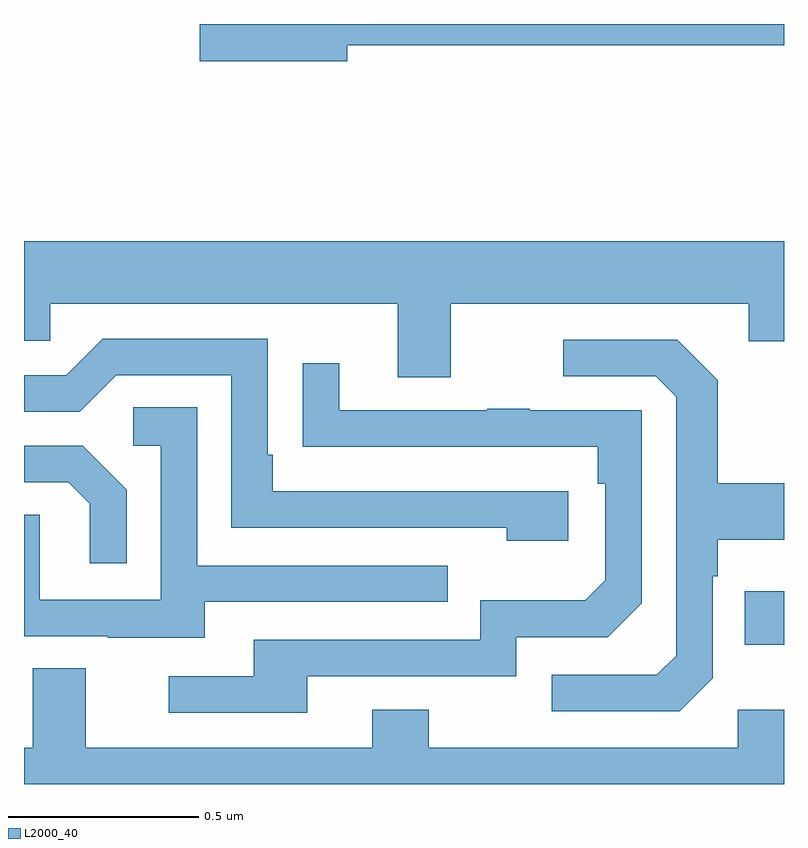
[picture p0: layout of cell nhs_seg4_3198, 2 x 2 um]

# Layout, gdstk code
import gdstk
lib = gdstk.Library(unit=1e-6, precision=1e-09)
def R(c, l, rs):  # rectangles x0, y0, x1, y1
    for r in rs: c.add(gdstk.rectangle(r[:2], r[2:], *l))
def P(c, l, *ps):  # polygons
    for p in ps: c.add(gdstk.Polygon(p, *l))
L2000_40 = (2000, 40)

nhs_seg4_3198 = lib.new_cell('nhs_seg4_3198')
R(nhs_seg4_3198, L2000_40, [(151.897,785.267,152,785.407)])
P(nhs_seg4_3198, L2000_40, [(150.85,786.844),(152,786.844),(152,786.9),(150.462,786.9),(150.462,786.802),(150.85,786.802)],
  [(151.123,786.164),(151.907,786.164),(151.907,786.065),(152,786.065),(152,786.328),(150,786.328),(150,786.066),(150.069,786.066),(150.069,786.164),(150.983,786.164),(150.983,785.97),(151.123,785.97)],
  [(151.432,785.67),(150.655,785.67),(150.655,785.767),(150.642,785.767),(150.642,786.072),(150.207,786.072),(150.111,785.976),(150,785.976),(150,785.88),(150.147,785.88),(150.243,785.976),(150.546,785.976),(150.546,785.574),(151.271,785.574),(151.271,785.54),(151.432,785.54)],
  [(151.812,785.178),(151.812,785.447),(151.825,785.447),(151.825,785.543),(152,785.543),(152,785.691),(151.825,785.691),(151.825,785.963),(151.719,786.069),(151.419,786.069),(151.419,785.973),(151.662,785.973),(151.716,785.919),(151.716,785.238),(151.665,785.187),(151.389,785.187),(151.389,785.091),(151.725,785.091)],
  [(150.745,785.184),(151.296,785.184),(151.296,785.286),(151.536,785.286),(151.626,785.376),(151.626,785.883),(151.331,785.883),(151.331,785.888),(151.219,785.888),(151.219,785.883),(150.829,785.883),(150.829,786.007),(150.733,786.007),(150.733,785.788),(150.835,785.788),(150.835,785.787),(151.51,785.787),(151.51,785.69),(151.53,785.69),(151.53,785.436),(151.477,785.383),(151.2,785.383),(151.2,785.28),(150.605,785.28),(150.605,785.184),(150.381,785.184),(150.381,785.088),(150.745,785.088)],
  [(150.475,785.379),(151.115,785.379),(151.115,785.475),(150.456,785.475),(150.456,785.891),(150.288,785.891),(150.288,785.79),(150.36,785.79),(150.36,785.385),(150.042,785.385),(150.042,785.609),(150,785.609),(150,785.289),(150.221,785.289),(150.221,785.285),(150.475,785.285)],
  [(150.27,785.674),(150.154,785.79),(150,785.79),(150,785.694),(150.116,785.694),(150.173,785.637),(150.173,785.481),(150.27,785.481)],
  [(152,785.095),(151.878,785.095),(151.878,784.996),(151.065,784.996),(151.065,785.095),(150.917,785.095),(150.917,784.996),(150.163,784.996),(150.163,785.204),(150.023,785.204),(150.023,784.996),(150,784.996),(150,784.9),(152,784.9)])

lib.write_gds('nhs_seg4_3198.gds')
